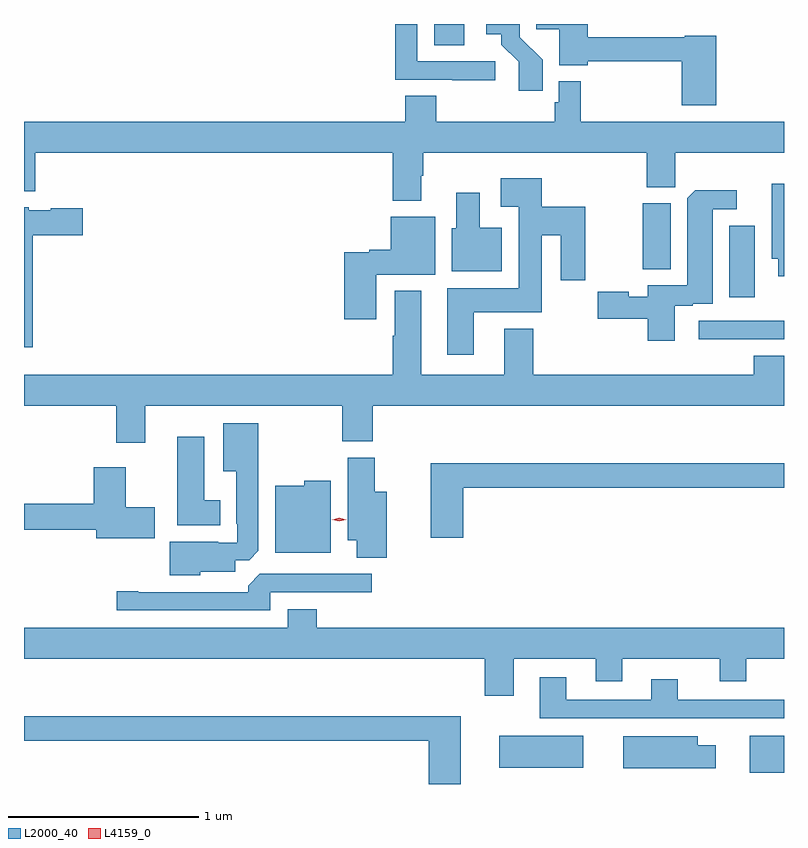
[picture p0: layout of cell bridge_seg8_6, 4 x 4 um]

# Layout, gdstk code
import gdstk
lib = gdstk.Library(unit=1e-6, precision=1e-09)
def R(c, l, rs):  # rectangles x0, y0, x1, y1
    for r in rs: c.add(gdstk.rectangle(r[:2], r[2:], *l))
def P(c, l, *ps):  # polygons
    for p in ps: c.add(gdstk.Polygon(p, *l))
L2000_40 = (2000, 40)
L4159_0 = (4159, 0)

bridge_seg8_6 = lib.new_cell('bridge_seg8_6')
R(bridge_seg8_6, L2000_40, [(952.904,1154.528,953.083,1154.725), (951.584,1154.555,952.027,1154.725), (952.635,1156.812,953.083,1156.908), (952.796,1157.031,952.93,1157.407), (952.339,1157.179,952.486,1157.526), (951.242,1158.358,951.4,1158.47)])
P(bridge_seg8_6, L2000_40, [(952.727,1158.409),(952.56,1158.409),(952.56,1158.401),(952.049,1158.401),(952.049,1158.47),(951.778,1158.47),(951.778,1158.442),(951.899,1158.442),(951.899,1158.254),(952.049,1158.254),(952.049,1158.273),(952.544,1158.273),(952.544,1158.042),(952.727,1158.042)],
  [(951.562,1158.273),(951.153,1158.273),(951.153,1158.47),(951.037,1158.47),(951.037,1158.177),(951.337,1158.177),(951.337,1158.175),(951.562,1158.175)],
  [(951.812,1158.282),(951.693,1158.401),(951.693,1158.47),(951.516,1158.47),(951.516,1158.416),(951.596,1158.416),(951.596,1158.361),(951.687,1158.271),(951.687,1158.12),(951.812,1158.12)],
  [(951.175,1157.672),(951.183,1157.672),(951.183,1157.792),(952.361,1157.792),(952.361,1157.611),(952.511,1157.611),(952.511,1157.792),(953.083,1157.792),(953.083,1157.956),(952.013,1157.956),(952.013,1158.169),(951.897,1158.169),(951.897,1158.057),(951.877,1158.057),(951.877,1157.956),(951.254,1157.956),(951.254,1158.092),(951.089,1158.092),(951.089,1157.956),(949.083,1157.956),(949.083,1157.59),(949.142,1157.59),(949.142,1157.792),(951.023,1157.792),(951.023,1157.54),(951.175,1157.54)],
  [(951.451,1156.952),(951.808,1156.952),(951.808,1157.357),(951.908,1157.357),(951.908,1157.121),(952.038,1157.121),(952.038,1157.509),(951.808,1157.509),(951.808,1157.659),(951.591,1157.659),(951.591,1157.507),(951.686,1157.507),(951.686,1157.08),(951.311,1157.08),(951.311,1156.728),(951.451,1156.728)],
  [(953.083,1157.629),(953.018,1157.629),(953.018,1157.234),(953.054,1157.234),(953.054,1157.142),(953.083,1157.142)],
  [(952.507,1156.986),(952.604,1156.986),(952.604,1156.998),(952.708,1156.998),(952.708,1157.496),(952.834,1157.496),(952.834,1157.594),(952.615,1157.594),(952.574,1157.552),(952.574,1157.094),(952.367,1157.094),(952.367,1157.035),(952.266,1157.035),(952.266,1157.062),(952.104,1157.062),(952.104,1156.918),(952.367,1156.918),(952.367,1156.803),(952.507,1156.803)],
  [(951.598,1157.398),(951.481,1157.398),(951.481,1157.581),(951.359,1157.581),(951.359,1157.394),(951.335,1157.394),(951.335,1157.168),(951.598,1157.168)],
  [(949.13,1157.357),(949.393,1157.357),(949.393,1157.499),(949.225,1157.499),(949.225,1157.491),(949.107,1157.491),(949.107,1157.505),(949.083,1157.505),(949.083,1156.77),(949.13,1156.77)],
  [(950.938,1157.15),(951.247,1157.15),(951.247,1157.455),(951.014,1157.455),(951.014,1157.282),(950.901,1157.282),(950.901,1157.269),(950.768,1157.269),(950.768,1156.917),(950.938,1156.917)],
  [(953.083,1156.723),(952.925,1156.723),(952.925,1156.624),(951.764,1156.624),(951.764,1156.867),(951.611,1156.867),(951.611,1156.624),(951.175,1156.624),(951.175,1157.065),(951.035,1157.065),(951.035,1156.829),(951.023,1156.829),(951.023,1156.624),(949.083,1156.624),(949.083,1156.46),(949.568,1156.46),(949.568,1156.266),(949.72,1156.266),(949.72,1156.46),(950.758,1156.46),(950.758,1156.273),(950.918,1156.273),(950.918,1156.46),(953.083,1156.46)],
  [(950.01,1155.587),(950.194,1155.587),(950.194,1155.648),(950.268,1155.648),(950.317,1155.697),(950.317,1156.369),(950.132,1156.369),(950.132,1156.115),(950.201,1156.115),(950.201,1155.841),(950.205,1155.841),(950.205,1155.741),(950.105,1155.741),(950.105,1155.745),(949.85,1155.745),(949.85,1155.569),(950.01,1155.569)],
  [(950.116,1155.964),(950.032,1155.964),(950.032,1156.297),(949.889,1156.297),(949.889,1155.833),(950.116,1155.833)],
  [(950.992,1156.009),(950.928,1156.009),(950.928,1156.188),(950.786,1156.188),(950.786,1155.752),(950.834,1155.752),(950.834,1155.661),(950.992,1155.661)],
  [(951.395,1156.03),(953.083,1156.03),(953.083,1156.159),(951.224,1156.159),(951.224,1155.765),(951.395,1155.765)],
  [(949.771,1155.927),(949.618,1155.927),(949.618,1156.138),(949.451,1156.138),(949.451,1155.944),(949.083,1155.944),(949.083,1155.808),(949.463,1155.808),(949.463,1155.764),(949.771,1155.764)],
  [(950.698,1156.066),(950.559,1156.066),(950.559,1156.039),(950.405,1156.039),(950.405,1155.686),(950.698,1155.686)],
  [(950.379,1155.48),(950.914,1155.48),(950.914,1155.576),(950.325,1155.576),(950.264,1155.514),(950.264,1155.48),(949.684,1155.48),(949.684,1155.485),(949.572,1155.485),(949.572,1155.384),(950.379,1155.384)],
  [(951.661,1155.128),(952.091,1155.128),(952.091,1155.011),(952.231,1155.011),(952.231,1155.128),(952.745,1155.128),(952.745,1155.011),(952.885,1155.011),(952.885,1155.128),(953.083,1155.128),(953.083,1155.292),(950.624,1155.292),(950.624,1155.391),(950.471,1155.391),(950.471,1155.292),(949.083,1155.292),(949.083,1155.128),(951.509,1155.128),(951.509,1154.934),(951.661,1154.934)],
  [(953.083,1154.913),(952.525,1154.913),(952.525,1155.022),(952.385,1155.022),(952.385,1154.913),(951.937,1154.913),(951.937,1155.031),(951.797,1155.031),(951.797,1154.817),(953.083,1154.817)],
  [(951.382,1154.827),(949.083,1154.827),(949.083,1154.698),(951.212,1154.698),(951.212,1154.47),(951.382,1154.47)],
  [(952.723,1154.674),(952.63,1154.674),(952.63,1154.722),(952.238,1154.722),(952.238,1154.552),(952.723,1154.552)])
P(bridge_seg8_6, L4159_0, [(950.743,1155.852),(950.705,1155.862),(950.705,1155.862),(950.705,1155.862),(950.743,1155.872),(950.78,1155.862),(950.78,1155.862),(950.78,1155.862)])

lib.write_gds('bridge_seg8_6.gds')
